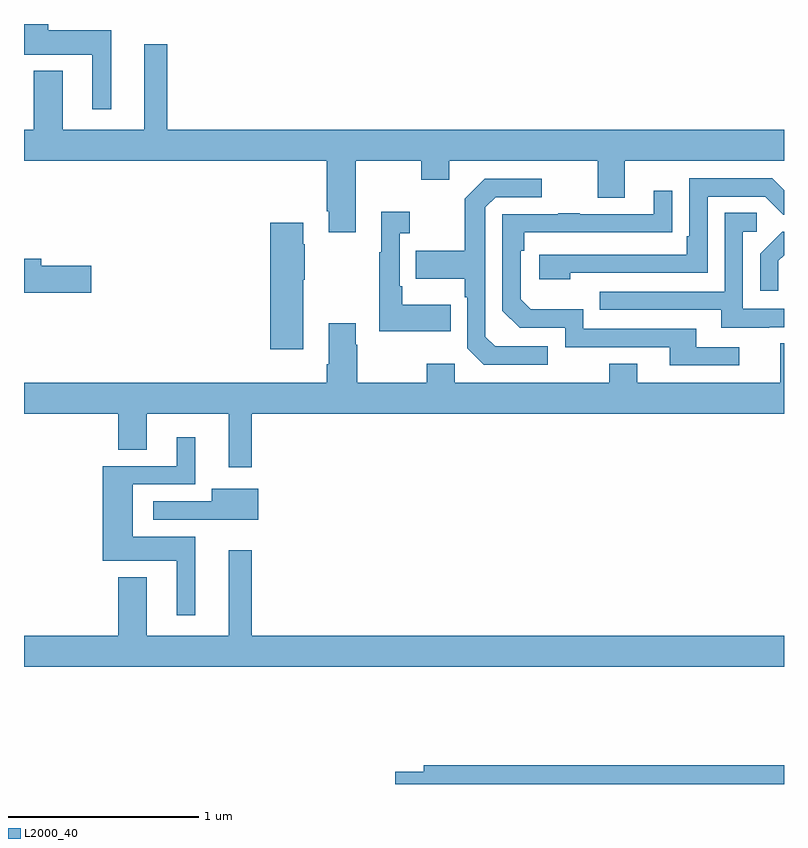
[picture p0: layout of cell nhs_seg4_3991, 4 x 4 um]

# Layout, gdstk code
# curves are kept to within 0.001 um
import gdstk
lib = gdstk.Library(unit=1e-6, precision=1e-09)
def P(c, l, *ps):  # polygons
    for p in ps: c.add(gdstk.Polygon(p, *l))
L2000_40 = (2000, 40)

nhs_seg4_3991 = lib.new_cell('nhs_seg4_3991')
P(nhs_seg4_3991, L2000_40, [(323.458,770.866),(323.128,770.866),(323.128,770.9),(323,770.9),(323,770.738),(323.36,770.738),(323.36,770.451),(323.458,770.451)],
  [(324.745,770.18),(325.09,770.18),(325.09,770.081),(325.237,770.081),(325.237,770.18),(326.021,770.18),(326.021,769.986),(326.161,769.986),(326.161,770.18),(327,770.18),(327,770.344),(323.755,770.344),(323.755,770.794),(323.633,770.794),(323.633,770.344),(323.203,770.344),(323.203,770.653),(323.051,770.653),(323.051,770.344),(323,770.344),(323,770.18),(324.593,770.18),(324.593,769.915),(324.605,769.915),(324.605,769.803),(324.745,769.803)],
  [(325.874,769.59),(326.598,769.59),(326.598,769.992),(326.901,769.992),(326.997,769.896),(327,769.896),(327,770.025),(326.937,770.088),(326.502,770.088),(326.502,769.783),(326.489,769.783),(326.489,769.686),(325.713,769.686),(325.713,769.556),(325.874,769.556)],
  [(325.756,769.203),(325.479,769.203),(325.428,769.254),(325.428,769.935),(325.482,769.989),(325.726,769.989),(325.726,770.085),(325.425,770.085),(325.32,769.979),(325.32,769.707),(325.063,769.707),(325.063,769.559),(325.32,769.559),(325.32,769.463),(325.332,769.463),(325.332,769.194),(325.419,769.107),(325.756,769.107)],
  [(326.764,769.2),(326.539,769.2),(326.539,769.296),(325.944,769.296),(325.944,769.399),(325.667,769.399),(325.614,769.452),(325.614,769.706),(325.634,769.706),(325.634,769.803),(326.411,769.804),(326.411,770.023),(326.315,770.023),(326.315,769.899),(325.925,769.899),(325.925,769.904),(325.813,769.904),(325.813,769.899),(325.518,769.899),(325.518,769.392),(325.608,769.302),(325.848,769.302),(325.848,769.2),(326.399,769.2),(326.399,769.104),(326.764,769.104)],
  [(325.247,769.423),(324.991,769.423),(324.991,769.519),(324.978,769.519),(324.978,769.799),(325.03,769.799),(325.03,769.912),(324.881,769.912),(324.881,769.699),(324.87,769.699),(324.87,769.283),(325.247,769.283)],
  [(326.923,769.305),(327,769.305),(327,769.401),(326.784,769.401),(326.784,769.806),(326.857,769.806),(326.857,769.907),(326.688,769.907),(326.688,769.491),(326.029,769.491),(326.029,769.395),(326.669,769.395),(326.669,769.301),(326.923,769.301)],
  [(324.469,769.553),(324.477,769.553),(324.477,769.742),(324.469,769.742),(324.469,769.855),(324.296,769.855),(324.296,769.188),(324.469,769.188)],
  [(326.971,769.653),(327,769.682),(327,769.806),(326.99,769.806),(326.874,769.69),(326.874,769.497),(326.971,769.497)],
  [(323.353,769.628),(323.092,769.628),(323.092,769.664),(323,769.664),(323,769.486),(323.353,769.486)],
  [(324.199,768.848),(327,768.848),(327,769.22),(326.981,769.22),(326.981,769.012),(326.227,769.012),(326.227,769.111),(326.08,769.111),(326.08,769.012),(325.266,769.012),(325.266,769.111),(325.12,769.111),(325.12,769.012),(324.753,769.012),(324.753,769.211),(324.745,769.211),(324.745,769.324),(324.605,769.324),(324.605,769.108),(324.593,769.108),(324.593,769.012),(323,769.012),(323,768.848),(323.495,768.848),(323.495,768.658),(323.647,768.658),(323.647,768.848),(324.077,768.848),(324.077,768.567),(324.199,768.567)],
  [(323.902,768.202),(323.572,768.202),(323.572,768.477),(323.902,768.477),(323.902,768.724),(323.804,768.724),(323.804,768.573),(323.414,768.573),(323.414,768.074),(323.804,768.074),(323.804,767.787),(323.902,767.787)],
  [(324.232,768.454),(323.987,768.454),(323.987,768.387),(323.679,768.387),(323.679,768.291),(323.991,768.291),(323.991,768.29),(324.232,768.29)],
  [(327,767.68),(324.199,767.68),(324.199,768.13),(324.077,768.13),(324.077,767.68),(323.647,767.68),(323.647,767.989),(323.495,767.989),(323.495,767.68),(323,767.68),(323,767.516),(327,767.516)],
  [(327,767),(325.103,767),(325.103,766.964),(324.954,766.964),(324.954,766.9),(327,766.9)])

lib.write_gds('nhs_seg4_3991.gds')
